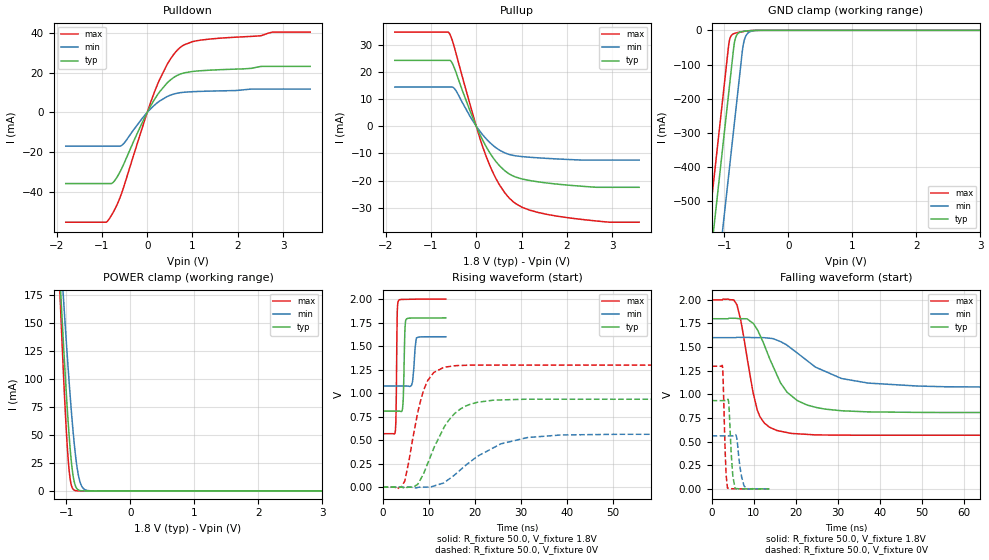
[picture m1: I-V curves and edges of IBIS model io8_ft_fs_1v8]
| [Disclaimer]  This information is for modeling purpose only and is
| not guaranted. The information is subject to change without
| notice.
| [Copyright] Copyright 2025 STMicroelectronics Inc.
| From stm32c091_092_ufqfpn32.ibs, stm32c091_092_ufqfpn32, STMicroelectronics
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[Model]   io8_ft_fs_1v8
Model_type I/O
Polarity   Non-Inverting
Enable   Active-Low
| CAP_THRESHOLD on pad IOFT is "UDTCAPC" :
| Rising=30.0% of vddiom   Falling=70.0% of vddiom
| C_comp min and max val. don't necessarily correlate with the min and max pvt
| but are the smallest and greatest pad capacitance found.
| var   typ   min   max
C_comp   1.88000pF  1.84955pF  1.93330pF
|C_comp_pullup   1.00265pF  1.07915pF  1.05575pF
|C_comp_pulldown   877.35415fF  770.40365fF  877.54544fF
Vinl = 800.0mV
Vinh = 1.0V
Vmeas = 900.0mV   | Reference voltage for timing measurements
Cref  = 50.0pF   | Timing specification test load capacitance value
Rref  = 1.0MOhm   | Timing specification test load resistance value
Vref  = 990.0mV   | Timing specification test load voltage
[Model Spec]
| TIME_THRESHOLD on pin ZIV12 is "CMOS" :
| Rising=50.0% of vdd   Falling=50.0% of vdd
Vinl 728.70000mV 652.70000mV 817.70000mV
Vinh 1.06430V 953.30000mV 1.16330V
| variable   typ   min   max
[Temperature Range] 25.0 125.0 -40.0
| variable   typ   min   max
[Voltage Range] 1.8V 1.6V 2.0V
| variable   typ   min   max
[POWER Clamp Reference] 1.8V 1.6V 2.0V
| variable   typ   min   max
[GND Clamp Reference] 0V 0V 0V
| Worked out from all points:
|   slope of the pulldown table from 0 to 0.27 V, typ, clamps not added: 26.3 ohm
|   slope of the pullup table from 0 to 0.27 V, typ, clamps not added: 30 ohm
|   GND clamp passes 1 mA (typ) near -0.61 V on its own axis
|   POWER clamp passes 1 mA (typ) near -0.81 V on its own axis
|   rising waveform, R_fixture 50.0, V_fixture 1.8V: 20-80 % time 280ps typ, 470ps min, 195ps max; typ from 0.809 V to 1.8 V
|   falling waveform, R_fixture 50.0, V_fixture 1.8V: 20-80 % time 6.63ns typ, 11.6ns min, 3.54ns max; typ from 1.8 V to 0.809 V
|   rising waveform, R_fixture 50.0, V_fixture 0V: 20-80 % time 5.72ns typ, 10.1ns min, 3.34ns max; typ from 0 V to 0.934 V
|   falling waveform, R_fixture 50.0, V_fixture 0V: 20-80 % time 694ps typ, 1.01ns min, 534ps max; typ from 0.935 V to 0 V
[POWER Clamp]
-1.8V     1.053A     933.5mA    1.262A
-1.1V     191.1mA    222.7mA    177.1mA
-1.08V    169mA      204.2mA    149.9mA
-1.05V    136.9mA    176.9mA    110.9mA
-1.01V    96.55mA    141.6mA    64.02mA
-980mV    68.91mA    116.4mA    35.23mA
-940mV    37.57mA    84.83mA    10.65mA
-880mV    8.969mA    44.34mA    807.4uA
-830mV    1.697mA    20.19mA    75.79uA
-790mV    394.2uA    8.787mA    11.25uA
-670mV    4.467uA    374.2uA    36.56nA
3.6V      0A         0A         0A
[GND Clamp]
-1.8V     -1.658A    -1.897A    -1.517A
-1.24V    -706mA     -945.3mA   -564.6mA
-1.05V    -383mA     -622.3mA   -241.6mA
-930mV    -179mA     -418.3mA   -38.91mA
-910mV    -145mA     -384.3mA   -22.02mA
-870mV    -77.01mA   -316.3mA   -11.35mA
-850mV    -44.09mA   -282.3mA   -9.519mA
-820mV    -19mA      -231.3mA   -7.801mA
-710mV    -3.257mA   -47.82mA   -3.606mA
-660mV    -1.938mA   -14.77mA   -2.175mA
-590mV    -790.4uA   -3.415mA   -786.7uA
3.6V      506.8pA    48.18nA    364.4pA
| variable   typ   min   max
[Pullup Reference] 1.8V 1.6V 2.0V
| variable   typ   min   max
[Pulldown Reference] 0V 0V 0V
[Pullup]
-1.8V     24.23mA    14.41mA    34.63mA
-600mV    24.23mA    14.41mA    34.31mA
-540mV    23.48mA    14.41mA    32.12mA
-460mV    20.37mA    13.36mA    27.59mA
-120mV    4.869mA    3.102mA    6.98mA
210mV     -7.259mA   -4.466mA   -10.7mA
510mV     -14.47mA   -8.758mA   -21.5mA
810mV     -18.3mA    -10.74mA   -27.71mA
1.18V     -19.99mA   -11.43mA   -30.89mA
1.74V     -21.24mA   -12.01mA   -32.98mA
2.94V     -22.49mA   -12.46mA   -35.33mA
3.6V      -22.49mA   -12.46mA   -35.33mA
[Pulldown]
-1.8V     -35.76mA   -16.97mA   -55.17mA
-910mV    -35.76mA   -16.97mA   -55.17mA
-830mV    -35.76mA   -16.97mA   -53.18mA
-720mV    -34.31mA   -16.97mA   -48.86mA
-540mV    -27.04mA   -16.13mA   -38.89mA
-120mV    -5.569mA   -3.236mA   -8.457mA
230mV     8.974mA    4.965mA    14.24mA
520mV     16.45mA    8.736mA    27.07mA
750mV     19.43mA    9.977mA    33.01mA
1.37V     21.21mA    10.7mA     36.84mA
2.78V     23.13mA    11.74mA    40.36mA
3.6V      23.13mA    11.74mA    40.37mA
[Ramp]
dV/dt_r 560.64103mV/5.72255ns 336.90009mV/10.08342ns 778.77397mV/3.34412ns
dV/dt_f 594.68735mV/6.63413ns 314.51285mV/11.57587ns 859.13116mV/3.53907ns
R_load = 50.0
| Removed startup time: 0s 0s 0s  .
| Removed end time: 13.75ns.
[Rising Waveform]
R_fixture   = 50.0
V_fixture   = 1.8V
V_fixture_min = 1.6V
V_fixture_max = 2.0V
0s        808.6mV    1.076V     568.1mV
2.8ns     808.6mV    1.076V     605.6mV
2.95ns    808.6mV    1.076V     844.4mV
3.2ns     808.6mV    1.076V     1.869V
3.45ns    808.7mV    1.076V     1.981V
4.35ns    834.5mV    1.076V     1.996V
5.1ns     1.781V     1.076V     1.997V
6.5ns     1.798V     1.119V     1.998V
7.35ns    1.798V     1.586V     1.999V
13.75ns   1.8V       1.599V     2V
| Removed startup time: 0s 0s 0s  .
| Removed end time: 249.75ns.
[Falling Waveform]
R_fixture   = 50.0
V_fixture   = 1.8V
V_fixture_min = 1.6V
V_fixture_max = 2.0V
0s        1.8V       1.6V       2V
6.025ns   1.803V     1.603V     1.949V
7ns       1.8V       1.603V     1.772V
9.85ns    1.753V     1.601V     1.026V
11.5ns    1.628V     1.6V       765.3mV
16.4ns    1.123V     1.558V     610.6mV
19ns      985.6mV    1.485V     587.2mV
30.93ns   826.9mV    1.168V     569mV
49ns      809.7mV    1.088V     568.1mV
249.8ns   808.9mV    1.076V     568.1mV
| Removed startup time: 0s 0s 0s  .
| Removed end time: 249.75ns.
[Rising Waveform]
R_fixture   = 50.0
V_fixture   = 0V
V_fixture_min = 0V
V_fixture_max = 0V
0s        36.63nV    88.68nV    43.76nV
3.15ns    -581.9nV   751.2nV    -21.7mV
4.8ns     -14.02mV   406.9nV    62.84mV
7.65ns    31.22mV    -3.794mV   792.2mV
9.15ns    171.7mV    -147.6uV   1.059V
11.1ns    411mV      11.46mV    1.218V
15.75ns   785.9mV    134.1mV    1.291V
25.7ns    927.3mV    460.2mV    1.298V
38.75ns   934.6mV    554.6mV    1.298V
249.8ns   934.4mV    561.5mV    1.298V
| Removed startup time: 0s 0s 0s  .
| Removed end time: 13.75ns.
[Falling Waveform]
R_fixture   = 50.0
V_fixture   = 0V
V_fixture_min = 0V
V_fixture_max = 0V
0s        934.6mV    561.6mV    1.298V
2.6ns     934.6mV    561.6mV    1.296V
3.45ns    934.3mV    561.6mV    164.2mV
3.8ns     941.1mV    561.6mV    8.057mV
4.15ns    868.9mV    561.6mV    4.659mV
5.05ns    145.7mV    561.3mV    2.206mV
5.6ns     7.594mV    569.8mV    1.867mV
6ns       3.549mV    540.8mV    1.699mV
7.75ns    1.053mV    30.07mV    1.068mV
13.75ns   422uV      -89.96uV   -91.09uV
